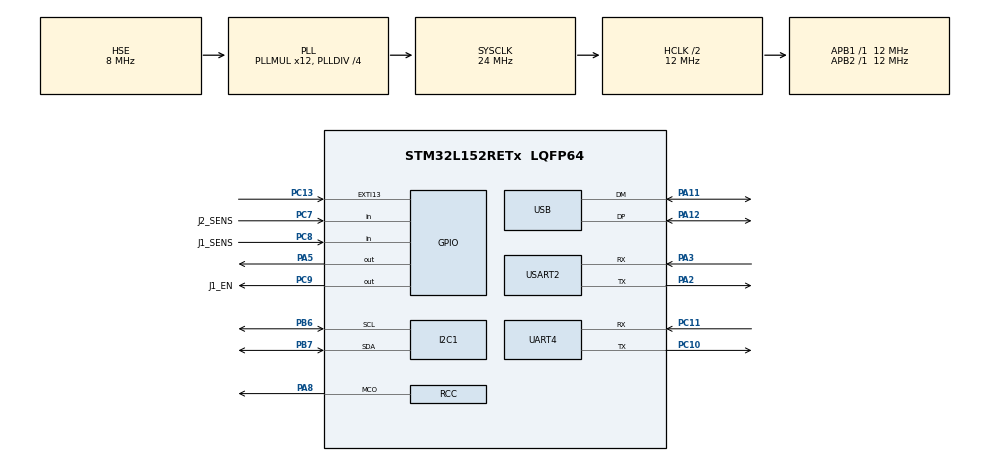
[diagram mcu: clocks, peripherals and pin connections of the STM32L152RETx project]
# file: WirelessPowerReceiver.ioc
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Dma.Request0=USART2_TX
Dma.USART2_TX.0.Direction=DMA_MEMORY_TO_PERIPH
Dma.USART2_TX.0.Instance=DMA1_Channel7
Dma.USART2_TX.0.MemDataAlignment=DMA_MDATAALIGN_BYTE
Dma.USART2_TX.0.MemInc=DMA_MINC_ENABLE
Dma.USART2_TX.0.Mode=DMA_NORMAL
Dma.USART2_TX.0.PeriphDataAlignment=DMA_PDATAALIGN_BYTE
Dma.USART2_TX.0.PeriphInc=DMA_PINC_DISABLE
Dma.USART2_TX.0.Priority=DMA_PRIORITY_LOW
Mcu.Family=STM32L1
Mcu.Name=STM32L152RETx
Mcu.Package=LQFP64
NVIC.DMA1_Channel7_IRQn=true\:0\:0\:false\:false\:true
NVIC.EXTI15_10_IRQn=true\:0\:0\:false\:false\:true
NVIC.I2C1_ER_IRQn=true\:0\:0\:false\:false\:true
NVIC.I2C1_EV_IRQn=true\:0\:0\:false\:false\:true
NVIC.PriorityGroup=NVIC_PRIORITYGROUP_4
NVIC.TIM7_IRQn=true\:0\:0\:false\:false\:true
NVIC.USART2_IRQn=true\:0\:0\:false\:false\:true
NVIC.USB_LP_IRQn=true\:0\:0\:false\:false\:true
PA11.Mode=Device
PA11.Signal=USB_DM
PA12.Mode=Device
PA12.Signal=USB_DP
PA13.Mode=Serial_Wire
PA13.Signal=SYS_JTMS-SWDIO
PA14.Mode=Serial_Wire
PA14.Signal=SYS_JTCK-SWCLK
PA2.Mode=Asynchronous
PA2.Signal=USART2_TX
PA3.Mode=Asynchronous
PA3.Signal=USART2_RX
PA5.Signal=GPIO_Output
PA8.Mode=Clock-out
PA8.Signal=RCC_MCO
PB6.Mode=I2C
PB6.Signal=I2C1_SCL
PB7.Mode=I2C
PB7.Signal=I2C1_SDA
PC10.Mode=Asynchronous
PC10.Signal=UART4_TX
PC11.Mode=Asynchronous
PC11.Signal=UART4_RX
PC13-WKUP2.GPIO_ModeDefaultEXTI=GPIO_MODE_IT_RISING_FALLING
PC13-WKUP2.Signal=GPXTI13
PC7.GPIO_Label=J2_SENS
PC7.Signal=GPIO_Input
PC8.GPIO_Label=J1_SENS
PC8.Signal=GPIO_Input
PC9.GPIO_Label=J1_EN
PC9.Signal=GPIO_Output
PH0-OSC_IN.Mode=HSE-External-Oscillator
PH0-OSC_IN.Signal=RCC_OSC_IN
PH1-OSC_OUT.Mode=HSE-External-Oscillator
PH1-OSC_OUT.Signal=RCC_OSC_OUT
ProjectManager.HeapSize=0x200
ProjectManager.StackSize=0x400
ProjectManager.TargetToolchain=TrueSTUDIO
RCC.AHBCLKDivider=RCC_SYSCLK_DIV2
RCC.AHBFreq_Value=12000000
RCC.APB1Freq_Value=12000000
RCC.APB1TimFreq_Value=12000000
RCC.APB2Freq_Value=12000000
RCC.APB2TimFreq_Value=12000000
RCC.HCLKFreq_Value=12000000
RCC.HSE_VALUE=8000000
RCC.HSI_VALUE=16000000
RCC.LSE_VALUE=32768
RCC.MSI_VALUE=2097000
RCC.PLLDIV=RCC_PLL_DIV4
RCC.PLLMUL=RCC_PLL_MUL12
RCC.SYSCLKFreq_VALUE=24000000
RCC.SYSCLKSource=RCC_SYSCLKSOURCE_PLLCLK
RCC.USBOutput=48000000
RCC.VCOOutputFreq_Value=96000000
TIM7.Period=999
TIM7.Prescaler=5999
USB_DEVICE.CLASS_NAME_FS=CDC
USB_DEVICE.USBD_HandleTypeDef=hUsbDeviceFS
USB_DEVICE.VirtualMode=Cdc
USB_DEVICE.VirtualModeFS=Cdc_FS
VP_TIM7_VS_ClockSourceINT.Mode=Enable_Timer
VP_USB_DEVICE_VS_USB_DEVICE_CDC_FS.Mode=CDC_FS
board=WirelessPowerReceiver

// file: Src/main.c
/**
  ******************************************************************************
  * File Name          : main.c
  * Description        : Main program body
  ******************************************************************************
  *
  * COPYRIGHT(c) 2017 STMicroelectronics
  *
  * Redistribution and use in source and binary forms, with or without modification,
  * are permitted provided that the following conditions are met:
  *   1. Redistributions of source code must retain the above copyright notice,
  *      this list of conditions and the following disclaimer.
  *   2. Redistributions in binary form must reproduce the above copyright notice,
  *      this list of conditions and the following disclaimer in the documentation
  *      and/or other materials provided with the distribution.
  *   3. Neither the name of STMicroelectronics nor the names of its contributors
  *      may be used to endorse or promote products derived from this software
  *      without specific prior written permission.
  *
  * THIS SOFTWARE IS PROVIDED BY THE COPYRIGHT HOLDERS AND CONTRIBUTORS "AS IS"
  * AND ANY EXPRESS OR IMPLIED WARRANTIES, INCLUDING, BUT NOT LIMITED TO, THE
  * IMPLIED WARRANTIES OF MERCHANTABILITY AND FITNESS FOR A PARTICULAR PURPOSE ARE
  * DISCLAIMED. IN NO EVENT SHALL THE COPYRIGHT HOLDER OR CONTRIBUTORS BE LIABLE
  * FOR ANY DIRECT, INDIRECT, INCIDENTAL, SPECIAL, EXEMPLARY, OR CONSEQUENTIAL
  * DAMAGES (INCLUDING, BUT NOT LIMITED TO, PROCUREMENT OF SUBSTITUTE GOODS OR
  * SERVICES; LOSS OF USE, DATA, OR PROFITS; OR BUSINESS INTERRUPTION) HOWEVER
  * CAUSED AND ON ANY THEORY OF LIABILITY, WHETHER IN CONTRACT, STRICT LIABILITY,
  * OR TORT (INCLUDING NEGLIGENCE OR OTHERWISE) ARISING IN ANY WAY OUT OF THE USE
  * OF THIS SOFTWARE, EVEN IF ADVISED OF THE POSSIBILITY OF SUCH DAMAGE.
  *
  ******************************************************************************
  */
#include "stm32l1xx_hal.h"
#include "usb_device.h"

/* USER CODE BEGIN Includes */
#include "P9025AC_I2C.h"
#include "JG_BinaryProtocolCommands.h"

#define RXBUFFERSIZE 1

/* USER CODE END Includes */

I2C_HandleTypeDef hi2c1;

TIM_HandleTypeDef htim7;

UART_HandleTypeDef huart4;
UART_HandleTypeDef huart2;
DMA_HandleTypeDef hdma_usart2_tx;

/* USER CODE BEGIN PV */
/* Private variables ---------------------------------------------------------*/
/* Buffer used for reception */
uint8_t rx_buffer_GV[RXBUFFERSIZE];
uint8_t g_RepeatModeTimerTimedOutFlag;
uint8_t g_RepeatModeTimerTimeout_seconds = 2;
uint8_t g_RepeatModeTimer_seconds = 0;

/* USER CODE END PV */

void SystemClock_Config(void);
void Error_Handler(void);
static void MX_GPIO_Init(void);
static void MX_DMA_Init(void);
static void MX_I2C1_Init(void);
static void MX_UART4_Init(void);
static void MX_USART2_UART_Init(void);
static void MX_TIM7_Init(void);

/* USER CODE BEGIN PFP */
/* Private function prototypes -----------------------------------------------*/
void HAL_UART_RxCpltCallback(UART_HandleTypeDef *UartHandle)
{
	uint8_t tmp_head;
	tmp_head = (command_buffer_head_index_GV+1) & COMMAND_BUFFER_MASK;
	if(tmp_head == command_buffer_tail_index_GV )		// If the circular buffer is full (head caught up to tail),
		g_CommandBufferFullFlag = SET;						// set the flag and stop writing new data to buffer
	else
	{
		command_buffer_head_index_GV = tmp_head;
		command_buffer_GV[command_buffer_head_index_GV] = rx_buffer_GV[0];
	}

	g_CommandReceivedCounter = SET;
}

void HAL_TIM_PeriodElapsedCallback(TIM_HandleTypeDef *htim)
{
	 if(htim->Instance == TIM7)
	 {
		 ++g_RepeatModeTimer_seconds;

		 HAL_GPIO_TogglePin(GPIOA, GPIO_PIN_5);
		 g_MeasurementsFlag = SET;

		 if (g_RepeatModeTimer_seconds == g_RepeatModeTimerTimeout_seconds)
		 {
			 g_RepeatModeTimerTimedOutFlag = SET;
			 g_RepeatModeTimer_seconds = 0;
		 }

	 }

}
/* USER CODE END PFP */

int main(void)
{

  /* MCU Configuration----------------------------------------------------------*/

  /* Reset of all peripherals, Initializes the Flash interface and the Systick. */
  HAL_Init();

  /* Configure the system clock */
  SystemClock_Config();

  /* Initialize all configured peripherals */
  MX_GPIO_Init();
  MX_DMA_Init();
  MX_I2C1_Init();
  MX_UART4_Init();
  MX_USART2_UART_Init();
  MX_USB_DEVICE_Init();
  MX_TIM7_Init();

  /* USER CODE BEGIN 2 */

  //Inicjalizacja Timera TIM7
  HAL_TIM_Base_Start_IT(&htim7);
  //Inicjalizacja odbierania komend po UART
  HAL_UART_Receive_IT(&huart2, (uint8_t *)rx_buffer_GV, RXBUFFERSIZE);

  /* USER CODE END 2 */

  /* Infinite loop */
  /* USER CODE BEGIN WHILE */

  uint8_t CurrentCommand = 0;

  while (1)
  {
  /* USER CODE END WHILE */

  /* USER CODE BEGIN 3 */
		if(g_CommandReceivedCounter == SET)
		{
		  JG_CommandBuffer_GetCommand(&CurrentCommand);
		  g_CommandReceivedCounter = RESET;
		  HAL_UART_Receive_IT(&huart2, (uint8_t *)rx_buffer_GV, RXBUFFERSIZE);
		  JG_ProcessCurrentCommand(CurrentCommand);
		}

		if(g_MeasurementsFlag == SET)
		{
		  JG_I2C_ReadMeasurementsFromP9025ACMem_Blocking();
		  JG_I2C_PutMeasurementsValuesToGlobalVariablesFromRaw();
		  JG_I2C_ReadMiscellaneousRegistersFromP9025ACMem_Blocking();
		  JG_I2C_PutMiscellaneousValuesToGlobalVariablesFromRaw();
		  JG_I2C_ReadWPCIDRegistersFromP9025ACMem_Blocking();
		  JG_I2C_PutWPCIDValuesToGlobalVariablesFromRaw();

		  g_MeasurementsFlag = RESET;
		}

		if(g_RepeatModeTimerTimedOutFlag && g_ExtendedRepeatModeFlag)
		{
			HAL_UART_Transmit(&huart2,"======== Measurements ========\n\r", sizeof("======== Measurements ========\n\r")-1,10);
			HAL_UART_Transmit(&huart2,"------------------------------\n\r", sizeof("------------------------------\n\r")-1,10);
			size_t size = sprintf(aTxBuffer_GV, "|     V_rect =  %3.2f V       |\r\n", g_P9025AC_Vrect_Volts);
			HAL_UART_Transmit(&huart2,aTxBuffer_GV,size, 10);
			size = sprintf(aTxBuffer_GV, "|     I_out  =  %4d mA      |\r\n", g_P9025AC_I_out_mA);
			HAL_UART_Transmit(&huart2,aTxBuffer_GV,size, 10);
			size = sprintf(aTxBuffer_GV, "|     f_clk  =   %3d kHz     |\r\n", g_P9025AC_f_clk_Hz);
			HAL_UART_Transmit(&huart2,aTxBuffer_GV,size, 10);
			HAL_UART_Transmit(&huart2,"------------------------------\n\r", sizeof("------------------------------\n\r")-1,10);
			HAL_UART_Transmit(&huart2,"=========== Miscellaneous Information ===========\n\r", sizeof("=========== Miscellaneous Information ===========\n\r")-1,10);
			HAL_UART_Transmit(&huart2,"-------------------------------------------------\n\r", sizeof("-------------------------------------------------\n\r")-1,10);
			size = sprintf(aTxBuffer_GV, "| V_rect higher than UnderVoltageLockOut   | %d |\n\r", g_PA9025AC_VrectHigherThanUVLOThreshold);
			HAL_UART_Transmit(&huart2,aTxBuffer_GV,size, 10);
			size = sprintf(aTxBuffer_GV, "|     V_rect higher than CLAMP threshold   | %d |\n\r", g_PA9025AC_VrectHigherThanACClampThreshold);
			HAL_UART_Transmit(&huart2,aTxBuffer_GV,size, 10);
			size = sprintf(aTxBuffer_GV, "|             LDO Current Limit Exceeded   | %d |\n\r", g_PA9025AC_LDOCurrentLimitExceeded);
			HAL_UART_Transmit(&huart2,aTxBuffer_GV,size, 10);
			size = sprintf(aTxBuffer_GV, "|                        CHARGE_COMPLETE   | %d |\n\r", g_PA9025AC_ChargeComplete);
			HAL_UART_Transmit(&huart2,aTxBuffer_GV,size, 10);
			size = sprintf(aTxBuffer_GV, "|             Die temperature over 150*C   | %d |\n\r", g_PA9025AC_DieTemperatureOver150Celsius);
			HAL_UART_Transmit(&huart2,aTxBuffer_GV,size, 10);
			HAL_UART_Transmit(&huart2,"-------------------------------------------------\n\r", sizeof("-------------------------------------------------\n\r")-1,10);
			g_RepeatModeTimerTimedOutFlag = 0;
		}
		if(g_RepeatModeTimerTimedOutFlag && g_RepeatModeFlag)
		{
			size_t size = sprintf(aTxBuffer_GV, "%1.2f %d %d ", g_P9025AC_Vrect_Volts, g_P9025AC_I_out_mA, g_P9025AC_f_clk_Hz);
			HAL_UART_Transmit(&huart2,aTxBuffer_GV,size, 10);
			size = sprintf(aTxBuffer_GV, "%d %d %d %d %d\r\n", g_PA9025AC_VrectHigherThanUVLOThreshold, g_PA9025AC_VrectHigherThanACClampThreshold, g_PA9025AC_LDOCurrentLimitExceeded, g_PA9025AC_ChargeComplete, g_PA9025AC_DieTemperatureOver150Celsius);
			HAL_UART_Transmit(&huart2,aTxBuffer_GV,size, 10);
			g_RepeatModeTimerTimedOutFlag = 0;
		}

  }
  /* USER CODE END 3 */

}

/** System Clock Configuration
*/
void SystemClock_Config(void)
{

  RCC_OscInitTypeDef RCC_OscInitStruct;
  RCC_ClkInitTypeDef RCC_ClkInitStruct;

  __HAL_RCC_PWR_CLK_ENABLE();

  __HAL_PWR_VOLTAGESCALING_CONFIG(PWR_REGULATOR_VOLTAGE_SCALE1);

  RCC_OscInitStruct.OscillatorType = RCC_OSCILLATORTYPE_HSE;
  RCC_OscInitStruct.HSEState = RCC_HSE_ON;
  RCC_OscInitStruct.PLL.PLLState = RCC_PLL_ON;
  RCC_OscInitStruct.PLL.PLLSource = RCC_PLLSOURCE_HSE;
  RCC_OscInitStruct.PLL.PLLMUL = RCC_PLL_MUL12;
  RCC_OscInitStruct.PLL.PLLDIV = RCC_PLL_DIV4;
  if (HAL_RCC_OscConfig(&RCC_OscInitStruct) != HAL_OK)
  {
    Error_Handler();
  }

  RCC_ClkInitStruct.ClockType = RCC_CLOCKTYPE_HCLK|RCC_CLOCKTYPE_SYSCLK
                              |RCC_CLOCKTYPE_PCLK1|RCC_CLOCKTYPE_PCLK2;
  RCC_ClkInitStruct.SYSCLKSource = RCC_SYSCLKSOURCE_PLLCLK;
  RCC_ClkInitStruct.AHBCLKDivider = RCC_SYSCLK_DIV2;
  RCC_ClkInitStruct.APB1CLKDivider = RCC_HCLK_DIV1;
  RCC_ClkInitStruct.APB2CLKDivider = RCC_HCLK_DIV1;
  if (HAL_RCC_ClockConfig(&RCC_ClkInitStruct, FLASH_LATENCY_0) != HAL_OK)
  {
    Error_Handler();
  }

  HAL_RCC_MCOConfig(RCC_MCO1, RCC_MCO1SOURCE_SYSCLK, RCC_MCODIV_1);

  HAL_SYSTICK_Config(HAL_RCC_GetHCLKFreq()/1000);

  HAL_SYSTICK_CLKSourceConfig(SYSTICK_CLKSOURCE_HCLK);

  /* SysTick_IRQn interrupt configuration */
  HAL_NVIC_SetPriority(SysTick_IRQn, 0, 0);
}

/* I2C1 init function */
static void MX_I2C1_Init(void)
{

  hi2c1.Instance = I2C1;
  hi2c1.Init.ClockSpeed = 100000;
  hi2c1.Init.DutyCycle = I2C_DUTYCYCLE_2;
  hi2c1.Init.OwnAddress1 = 0;
  hi2c1.Init.AddressingMode = I2C_ADDRESSINGMODE_7BIT;
  hi2c1.Init.DualAddressMode = I2C_DUALADDRESS_DISABLE;
  hi2c1.Init.OwnAddress2 = 0;
  hi2c1.Init.GeneralCallMode = I2C_GENERALCALL_DISABLE;
  hi2c1.Init.NoStretchMode = I2C_NOSTRETCH_DISABLE;
  if (HAL_I2C_Init(&hi2c1) != HAL_OK)
  {
    Error_Handler();
  }

}

/* TIM7 init function */
static void MX_TIM7_Init(void)
{

  TIM_MasterConfigTypeDef sMasterConfig;

  htim7.Instance = TIM7;
  htim7.Init.Prescaler = 5999;
  htim7.Init.CounterMode = TIM_COUNTERMODE_UP;
  htim7.Init.Period = 999;
  if (HAL_TIM_Base_Init(&htim7) != HAL_OK)
  {
    Error_Handler();
  }

  sMasterConfig.MasterOutputTrigger = TIM_TRGO_RESET;
  sMasterConfig.MasterSlaveMode = TIM_MASTERSLAVEMODE_DISABLE;
  if (HAL_TIMEx_MasterConfigSynchronization(&htim7, &sMasterConfig) != HAL_OK)
  {
    Error_Handler();
  }

}

/* UART4 init function */
static void MX_UART4_Init(void)
{

  huart4.Instance = UART4;
  huart4.Init.BaudRate = 115200;
  huart4.Init.WordLength = UART_WORDLENGTH_8B;
  huart4.Init.StopBits = UART_STOPBITS_1;
  huart4.Init.Parity = UART_PARITY_NONE;
  huart4.Init.Mode = UART_MODE_TX_RX;
  huart4.Init.HwFlowCtl = UART_HWCONTROL_NONE;
  huart4.Init.OverSampling = UART_OVERSAMPLING_16;
  if (HAL_UART_Init(&huart4) != HAL_OK)
  {
    Error_Handler();
  }

}

/* USART2 init function */
static void MX_USART2_UART_Init(void)
{

  huart2.Instance = USART2;
  huart2.Init.BaudRate = 115200;
  huart2.Init.WordLength = UART_WORDLENGTH_8B;
  huart2.Init.StopBits = UART_STOPBITS_1;
  huart2.Init.Parity = UART_PARITY_NONE;
  huart2.Init.Mode = UART_MODE_TX_RX;
  huart2.Init.HwFlowCtl = UART_HWCONTROL_NONE;
  huart2.Init.OverSampling = UART_OVERSAMPLING_16;
  if (HAL_UART_Init(&huart2) != HAL_OK)
  {
    Error_Handler();
  }

}

static void MX_DMA_Init(void)
{
  /* DMA controller clock enable */
  __HAL_RCC_DMA1_CLK_ENABLE();

  /* DMA interrupt init */
  /* DMA1_Channel7_IRQn interrupt configuration */
  HAL_NVIC_SetPriority(DMA1_Channel7_IRQn, 0, 0);
  HAL_NVIC_EnableIRQ(DMA1_Channel7_IRQn);

}

/** Configure pins as
        * Analog
        * Input
        * Output
        * EVENT_OUT
        * EXTI
     PA8   ------> RCC_MCO
*/
static void MX_GPIO_Init(void)
{

  GPIO_InitTypeDef GPIO_InitStruct;

  /* GPIO Ports Clock Enable */
  __HAL_RCC_GPIOC_CLK_ENABLE();
  __HAL_RCC_GPIOH_CLK_ENABLE();
  __HAL_RCC_GPIOA_CLK_ENABLE();
  __HAL_RCC_GPIOB_CLK_ENABLE();

  /*Configure GPIO pin : PC13 */
  GPIO_InitStruct.Pin = GPIO_PIN_13;
  GPIO_InitStruct.Mode = GPIO_MODE_IT_RISING_FALLING;
  GPIO_InitStruct.Pull = GPIO_NOPULL;
  HAL_GPIO_Init(GPIOC, &GPIO_InitStruct);

  /*Configure GPIO pin : PA5 */
  GPIO_InitStruct.Pin = GPIO_PIN_5;
  GPIO_InitStruct.Mode = GPIO_MODE_OUTPUT_PP;
  GPIO_InitStruct.Pull = GPIO_NOPULL;
  GPIO_InitStruct.Speed = GPIO_SPEED_FREQ_LOW;
  HAL_GPIO_Init(GPIOA, &GPIO_InitStruct);

  /*Configure GPIO pins : J2_SENS_Pin J1_SENS_Pin */
  GPIO_InitStruct.Pin = J2_SENS_Pin|J1_SENS_Pin;
  GPIO_InitStruct.Mode = GPIO_MODE_INPUT;
  GPIO_InitStruct.Pull = GPIO_NOPULL;
  HAL_GPIO_Init(GPIOC, &GPIO_InitStruct);

  /*Configure GPIO pin : J1_EN_Pin */
  GPIO_InitStruct.Pin = J1_EN_Pin;
  GPIO_InitStruct.Mode = GPIO_MODE_OUTPUT_PP;
  GPIO_InitStruct.Pull = GPIO_NOPULL;
  GPIO_InitStruct.Speed = GPIO_SPEED_FREQ_LOW;
  HAL_GPIO_Init(J1_EN_GPIO_Port, &GPIO_InitStruct);

  /*Configure GPIO pin : PA8 */
  GPIO_InitStruct.Pin = GPIO_PIN_8;
  GPIO_InitStruct.Mode = GPIO_MODE_AF_PP;
  GPIO_InitStruct.Pull = GPIO_NOPULL;
  GPIO_InitStruct.Speed = GPIO_SPEED_FREQ_LOW;
  GPIO_InitStruct.Alternate = GPIO_AF0_MCO;
  HAL_GPIO_Init(GPIOA, &GPIO_InitStruct);

  /*Configure GPIO pin Output Level */
  HAL_GPIO_WritePin(GPIOA, GPIO_PIN_5, GPIO_PIN_RESET);

  /*Configure GPIO pin Output Level */
  HAL_GPIO_WritePin(J1_EN_GPIO_Port, J1_EN_Pin, GPIO_PIN_RESET);

  /* EXTI interrupt init*/
  HAL_NVIC_SetPriority(EXTI15_10_IRQn, 0, 0);
  HAL_NVIC_EnableIRQ(EXTI15_10_IRQn);

}

void Error_Handler(void)
{
  while(1)
  {
  }
}

/************************ (C) COPYRIGHT STMicroelectronics *****END OF FILE****/
